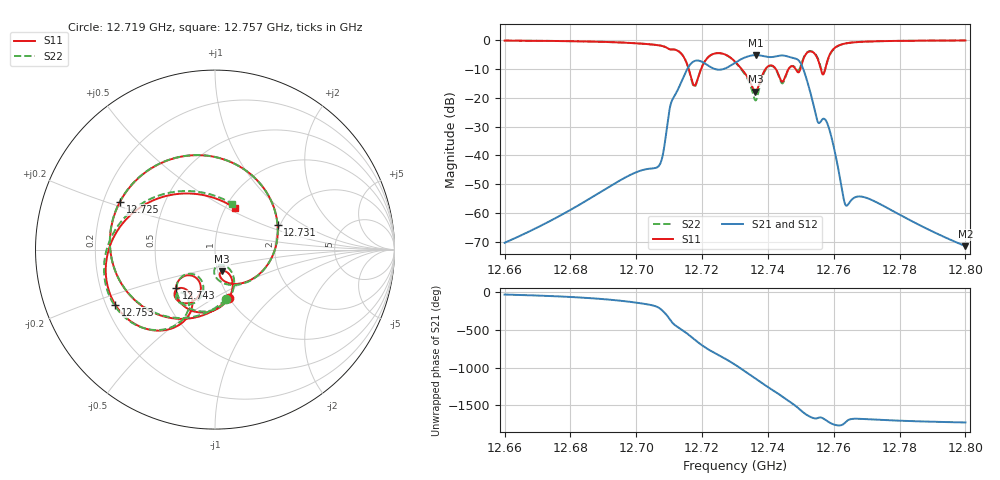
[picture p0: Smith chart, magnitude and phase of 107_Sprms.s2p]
! TOUCHSTONE file generated by CST MICROWAVE STUDIO
! Date and time: Wed Jul 31 16:10:03 2024
! Project name: WaveGuide_BPF-Ver4.1_U-shape_Ku_T3_C4_CWA_2.cst
! Parameters = {cavity_h=16; cavity_l0=10; cavity_l1=15.2101; cavity_l2=16.8321; cavity_l3=17.0776; cavity_l4=17.2625; cavity_l5=17.1082; cavity_l6=17.6016; cavity_r=2.5; cavity_screw_l=0.5; cavity_screw_r=1.5; cavity_w=8; iris_h00=0; iris_h01=8.835; iris_h112=0; iris_h12=5.6132; iris_h211=3.6596; i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
! Header version: 2018
! Port assignment regex: !\s*Touchstone port\s*([0-9]+)\s*=\s*(CST MWS port|CST DS port)\s*([0-9]+|Zmin|Zmax)\s*\(\"(.*)\"\)(\s*mode\s*([0-9]+))?.*
! Touchstone port assignment:
! Touchstone port 1 = CST MWS port 1 ("")
! Touchstone port 2 = CST MWS port 2 ("")
# GHz S RI R 50
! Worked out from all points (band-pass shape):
!   5001 points, 12.66 GHz to 12.8 GHz, reference 50 ohm
!   highest |S21| = -5.22 dB at 12.736 GHz (marker M1); lowest = -71.5 dB at 12.8 GHz (marker M2)
!   |S21| within 3 dB of the highest: 12.71659 GHz to 12.72097 GHz (4.381 MHz wide, 0.0344 % of centre); 12.72955 GHz to 12.75004 GHz (20.49 MHz wide, 0.161 % of centre)
!   lowest |S11| = -18.0 dB at 12.736 GHz (marker M3), VSWR 1.29, Z = 52.6 - j12.8 ohm
!   |S11| at or under -10 dB: 12.71592 GHz to 12.71971 GHz (3.794 MHz wide, 0.0298 % of centre); 12.73198 GHz to 12.73931 GHz (7.331 MHz wide, 0.0576 % of centre); 12.74237 GHz to 12.74631 GHz (3.938 MHz wide, 0.0309 % of centre) (the widest 3 of 5)
!   |S22| runs from -20.9 to -0.2 dB; largest |S21 - S12| = 1e-09
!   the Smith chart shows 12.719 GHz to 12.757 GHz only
!   S11 on the Smith chart (normalised r, x): 12.719 GHz: 1.00, -0.58; 12.725 GHz: 0.27, +0.22; 12.731 GHz: 1.94, +0.62; 12.743 GHz: 0.59, -0.28; 12.753 GHz: 0.24, -0.24; 12.757 GHz: 1.11, +0.55
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12.66  0.4376 0.8737  0.000262 -0.000156  0.000262 -0.000156  0.44 0.8726
12.68335  0.8627 0.3931  0.000477 -0.00138  0.000477 -0.00138  0.8628 0.3935
12.69693  0.806 -0.3939  -0.00218 -0.0036  -0.00218 -0.0036  0.809 -0.3893
12.70668  -0.1118 -0.8035  -0.00596 0.00233  -0.00596 0.00233  -0.0984 -0.8067
12.71502  -0.2835 0.3322  -0.2762 -0.0337  -0.2762 -0.0337  -0.2995 0.3196
12.71936  0.0766 -0.2691  0.3479 0.2583  0.3479 0.2583  0.0612 -0.2743
12.72521  -0.5293 0.2662  -0.1431 -0.27  -0.1431 -0.27  -0.5225 0.2809
12.73  0.2985 0.3002  -0.203 0.3486  -0.203 0.3486  0.3091 0.279
12.73087  0.3488 0.1374  -0.0409 0.431  -0.0409 0.431  0.3496 0.1102
12.73622  0.04 -0.1201  0.2272 -0.4988  0.2272 -0.4988  0.0207 -0.0874
12.73638  0.0464 -0.1191  0.1813 -0.5174  0.1813 -0.5174  0.03 -0.0855
12.73952  0.018 -0.3273  -0.4929 -0.1436  -0.4929 -0.1436  0.0318 -0.3154
12.74254  -0.2179 -0.2127  -0.1964 0.4836  -0.1964 0.4836  -0.214 -0.2072
12.74607  -0.1094 -0.2791  0.5148 0.0458  0.5148 0.0458  -0.0927 -0.2805
12.74884  -0.1917 -0.2136  0.0659 -0.4598  0.0659 -0.4598  -0.1937 -0.2384
12.75274  -0.5561 -0.3059  -0.1167 0.0641  -0.1167 0.0641  -0.5711 -0.2926
12.75335  -0.6043 -0.1735  -0.0738 0.0643  -0.0738 0.0643  -0.6152 -0.16
12.75657  0.1111 0.2314  -0.0287 0.0312  -0.0287 0.0312  0.0971 0.2543
12.75974  0.068 -0.6765  0.0102 0.0129  0.0102 0.0129  0.0883 -0.6642
12.76368  -0.5283 -0.6977  0.000182 0.00134  0.000182 0.00134  -0.5208 -0.6999
12.77668  -0.9496 -0.15  -0.000274 0.00116  -0.000274 0.00116  -0.9498 -0.1474
12.8  -0.9281 0.323  7.36e-05 0.000256  7.36e-05 0.000256  -0.9265 0.3276
